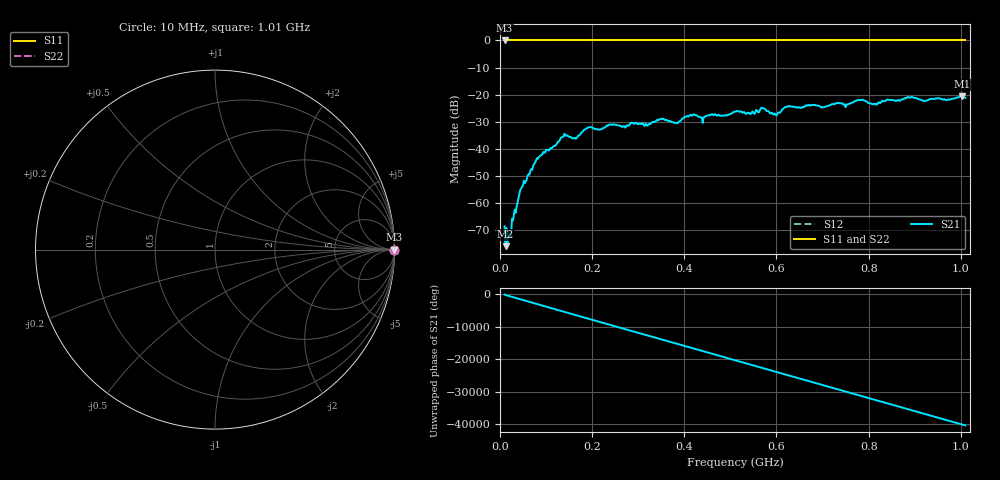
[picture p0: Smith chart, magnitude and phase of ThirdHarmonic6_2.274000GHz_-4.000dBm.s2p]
! 8/17/2025 2:53:52 AM
! C:\ANRITSUVNA\TEMP\TEMP.S2P
! CHANNEL.1
! TR.MEASUREMENT
! RAW.DATA
! RF.CORRECTION.OFF
! AVERAGING.OFF
! IF.BANDWIDTH: 5KHZ
! SWEEPTYPE:  FREQ.SWEEP(Linear)
! Reference Plane Port Info
! PORT:  PORT1  PORT2
! DISTANCE:  0  m  0  m
! TIME:  0  s  0  s
! PHASE.OFFSET:  0  deg.  0  deg.
! LOSS:  0  dB  0  dB
! REF.LOSS:  0  dB  0  dB
! REF.FREQ:  0  Hz  0  Hz
! Power Info
! POWER:  -20  dBm  -20  dBm
! EFF.POWER:  -20  dBm  -20  dBm
! SOURCE.ATTEN:  0  dB  0  dB
! TEST.ATTEN:  0  dB  0  dB
# GHZ S RI R 50.0
! FREQ.GHZ  S11RE  S11IM  S21RE  S21IM  S12RE  S12IM  S22RE  S22IM
!; PortSelection: Port_12
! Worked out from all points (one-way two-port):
!   501 points, 10 MHz to 1.01 GHz, reference 50 ohm
!   highest |S21| = -20.58 dB at 1.002 GHz (marker M1); lowest = -75.9 dB at 12 MHz (marker M2)
!   lowest |S11| = 0.0 dB at 10 MHz (marker M3)
!   |S11| at or under -10 dB: nowhere
!   |S22| runs from 0.0 to 0.0 dB; largest |S21 - S12| = 1.1
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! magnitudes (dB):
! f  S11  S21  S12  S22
! 10 MHz  0.0  -68.5  0.0  0.0
! 12 MHz  0.0  -75.9  0.0  0.0
! 20 MHz  0.0  -72.5  0.0  0.0
! 30 MHz  0.0  -64.4  0.0  0.0
! 48 MHz  0.0  -53.9  0.0  0.0
! 82 MHz  0.0  -43.6  0.0  0.0
! 136 MHz  0.0  -35.7  0.0  0.0
! 162 MHz  0.0  -35.9  0.0  0.0
! 178 MHz  0.0  -33.7  0.0  0.0
! 194 MHz  0.0  -32.0  0.0  0.0
! 344 MHz  0.0  -29.4  0.0  0.0
! 382 MHz  0.0  -30.4  0.0  0.0
! 416 MHz  0.0  -27.7  0.0  0.0
! 440 MHz  0.0  -30.4  0.0  0.0
! 510 MHz  0.0  -26.3  0.0  0.0
! 570 MHz  0.0  -25.0  0.0  0.0
! 596 MHz  0.0  -27.0  0.0  0.0
! 624 MHz  0.0  -24.5  0.0  0.0
! 678 MHz  0.0  -23.8  0.0  0.0
! 844 MHz  0.0  -22.0  0.0  0.0
! 1.002 GHz  0.0  -20.6  0.0  0.0
! 1.01 GHz  0.0  -21.2  0.0  0.0
